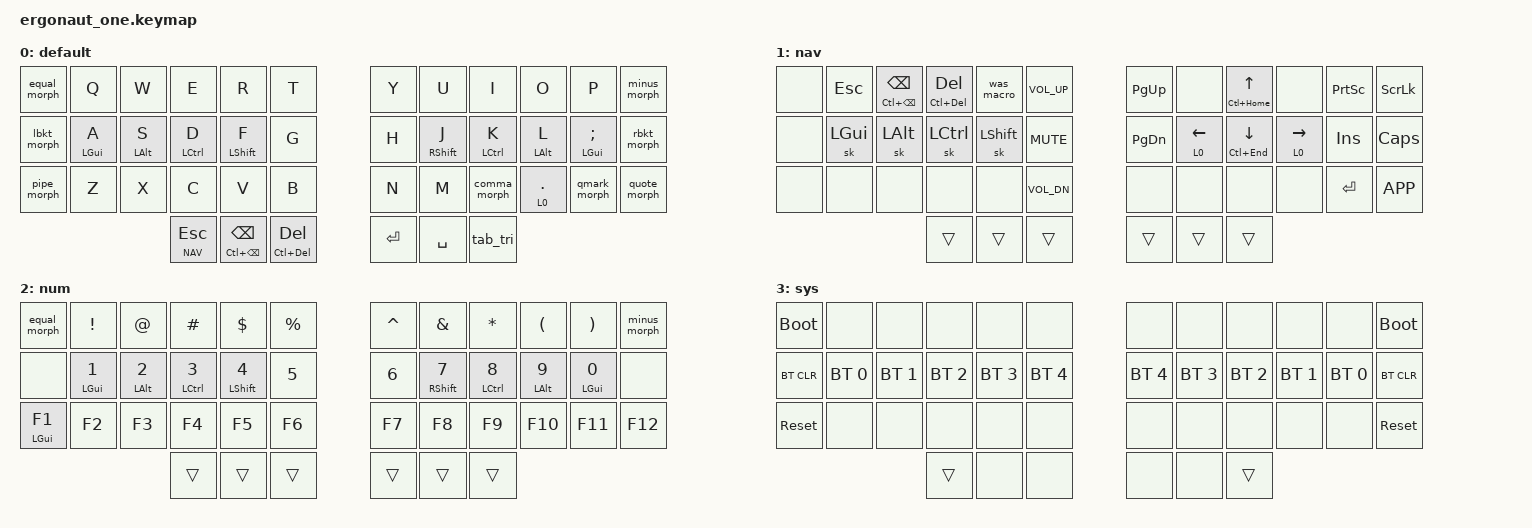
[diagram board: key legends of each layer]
#include <behaviors.dtsi>
#include <behaviors/num_word.dtsi>
#include <dt-bindings/zmk/keys.h>
#include <dt-bindings/zmk/bt.h>

#include "zmk-helpers/helper.h"
#include "zmk-helpers/key-labels/42.h"
#include "zmk-helpers/unicode-chars/german.dtsi"

#define DEF 0
#define NAV 1
#define NUM 2
#define SYS 3

#define XXX &none
#define ___ &trans

/* Global settings */

#define QUICK_TAP_MS 175

&sk {  // sticky-key config
    release-after-ms = <900>;  // release after 0.6s
    quick-release;             // no double capitalization when rolling keys
};

&sl {  // sticky-layer config
    ignore-modifiers;          // allow chording sticky mods & layers
};

&lt {  // layer-tap config
    flavor = "balanced";
    tapping-term-ms = <200>;
    quick-tap-ms = <QUICK_TAP_MS>;
};

/* Homerow mods */
#define KEYS_L LT0 LT1 LT2 LT3 LT4 LT5 LM0 LM1 LM2 LM3 LM4 LM5 LB0 LB1 LB2 LB3 LB4 LB5  // left hand
#define KEYS_R RT0 RT1 RT2 RT3 RT4 RT5 RM0 RM1 RM2 RM3 RM4 RM5 RB0 RB1 RB2 RB3 RB4 RB5  // right hand
#define THUMBS LH2 LH1 LH0 RH0 RH1 RH2                                                  // thumbs

#define MAKE_HRM(NAME, HOLD, TAP, TRIGGER_POS) \
    ZMK_HOLD_TAP(NAME, \
        flavor = "balanced"; \
        tapping-term-ms = <280>; \
        quick-tap-ms = <QUICK_TAP_MS>; \
        require-prior-idle-ms = <150>; \
        bindings = <HOLD>, <TAP>; \
        hold-trigger-key-positions = <TRIGGER_POS>; \
        hold-trigger-on-release; \
    )

MAKE_HRM(hml, &kp, &kp, KEYS_R THUMBS)  // left-hand HRMs
MAKE_HRM(hmr, &kp, &kp, KEYS_L THUMBS)  // right-hand HRMs

/* Nav cluster */

// long-tap action on hold, short-tap action on all interrupts
#define MT_CORE \
    flavor = "tap-preferred"; \
    tapping-term-ms = <220>; \
    quick-tap-ms = <220>; \
    hold-trigger-key-positions = <0>;

&mt { MT_CORE };
ZMK_HOLD_TAP(mt_home, bindings = <&masked_home>, <&kp>; MT_CORE)
ZMK_HOLD_TAP(mt_end, bindings = <&masked_end>, <&kp>; MT_CORE)

// mask CTRL when holding left/right to avoid accidental jumps to beginning/end of document
#define MASK_MODS(NAME, MODS, BINDING) \
    ZMK_MOD_MORPH(NAME, \
        bindings = <BINDING>, <BINDING>; \
        mods = <MODS>; \
    )
MASK_MODS(masked_home, (MOD_LCTL), &kp HOME)
MASK_MODS(masked_end,  (MOD_LCTL), &kp END)

/* Custom behaviors */

// reuse basic mod-morph scheme
#define SIMPLE_MORPH(NAME, MOD, BINDING1, BINDING2) \
    ZMK_MOD_MORPH(NAME, \
        mods = <(MOD_L ## MOD|MOD_R ## MOD)>; \
        bindings = <BINDING1>, <BINDING2>; \
    )

// tap: ? | shift + tap: / | ctrl + shift + tap: BACKSLASH
SIMPLE_MORPH(qmark_morph, SFT, &kp QMARK, &qmark_inner_morph)
SIMPLE_MORPH(qmark_inner_morph, CTL, &kp FSLH, &kp BSLH)

// tap: " | shift + tap: ' | ctrl + shift + tap: `
SIMPLE_MORPH(quote_morph, SFT, &kp DQT, &quote_inner_morph)
SIMPLE_MORPH(quote_inner_morph, CTL, &kp SQT, &kp GRAVE)

SIMPLE_MORPH(equal_morph, SFT, &kp EQUAL, &kp PLUS)         // tap: = | shift + tap: +
SIMPLE_MORPH(minus_morph, SFT, &kp MINUS, &kp UNDER)        // tap: - | shift + tap: _
SIMPLE_MORPH(lbkt_morph, SFT, &kp LBKT, &kp LBRC)           // tap: [ | shift + tap: {
SIMPLE_MORPH(rbkt_morph, SFT, &kp RBKT, &kp RBRC)           // tap: ] | shift + tap: }
SIMPLE_MORPH(pipe_morph, SFT, &kp PIPE, &kp TILDE)          // tap: | | shift + tap: ~
SIMPLE_MORPH(comma_morph, SFT, &kp COMMA, &kp LESS_THAN)    // tap: , | shift + tap: <
//SIMPLE_MORPH(dot_morph, SFT, &kp DOT, &kp GREATER_THAN)     // tap: . | shift + tap: >

// Press Win, Alt, and Ctrl at the same time with one keypress
ZMK_MACRO(was_macro,
    wait-ms = <100>;
    tap-ms = <40>;
    bindings = <&kp LGUI &kp LALT &kp LCTRL>;
)

// Press dot, space and sticky shift at the same time with one keypress
ZMK_MACRO(dot_spc,
    wait-ms = <0>;
    tap-ms = <5>;
    bindings = <&kp DOT &kp SPACE &sk LSHFT>;
)

ZMK_HOLD_TAP(mt_dot, bindings = <&dot_spc>, <&kp>; MT_CORE)

ZMK_TRI_STATE(tab_tri,
    bindings = <&kt LALT>, <&kp TAB>, <&mo NUM>;  // Tri-State: Tap/Hold/Long-Hold
    tapping-term-ms = <200>;       // Zeit bis zum Hold-Trigger
    hold-time-ms = <500>;          // Zeit bis zum Long-Hold (Layer)
    ignored-key-positions = <THUMBS>;  // Ignoriere eigene Position (z.B. Thumb-Keys)
    quick-release;                 // Verhindert "hängenbleibende" Modifier
)

#define NAV_LEFT    &mt_home 0   LEFT       // tap: left  | long-tap: beginning of line
#define NAV_RIGHT   &mt_end 0    RIGHT      // tap: right | long-tap: end       of line
#define NAV_UP      &mt LC(HOME) UP         // tap: up    | long-tap: beginning of document
#define NAV_DOWN    &mt LC(END)  DOWN       // tap: down  | long-tap: end       of document

#define BSPC_MORPH  &mt LC(BSPC) BSPC       // tap: bspc  | long-tap: delete word backward
#define DEL_MORPH   &mt LC(DEL)  DEL        // tap: del   | long-tap: delete word forward

#define DOT_MORPH   &mt_dot 0    DOT       // tap: . | long-tap: dot space sticky shift

/* Keymap */
ZMK_CONDITIONAL_LAYER(sys, NAV NUM, SYS)  // NAV + NUM --> SYS

/* Keymap Default Layer */
ZMK_LAYER(default,
//  ╭─────────────┬─────────────┬─────────────┬─────────────┬─────────────┬─────────────╮       ╭─────────────┬─────────────┬─────────────┬─────────────┬─────────────┬─────────────╮
     &equal_morph     &kp Q         &kp W         &kp E         &kp R         &kp T                 &kp Y         &kp U        &kp I          &kp O        &kp P       &minus_morph    
//  ├─────────────┼─────────────┼─────────────┼─────────────┼─────────────┤─────────────┤       ├─────────────┼─────────────┼─────────────┼─────────────┼─────────────┤─────────────┤
      &lbkt_morph  &hml LGUI A   &hml LALT S  &hml LCTRL D  &hml LSHFT F      &kp G                  &kp H     &hmr RSHFT J  &hmr LCTRL K   &hmr LALT L &hmr LGUI SEMI  &rbkt_morph
//  ├─────────────┼─────────────┼─────────────┼─────────────┼─────────────┤─────────────┤       ├─────────────┼─────────────┼─────────────┼─────────────┼─────────────┤─────────────┤
      &pipe_morph      &kp Z         &kp X          &kp C         &kp V         &kp B                &kp N         &kp M      &comma_morph   DOT_MORPH   &qmark_morph  &quote_morph
//  ╰─────────────┴─────────────┴─────────────┼─────────────┼─────────────┼─────────────├       ├─────────────┼─────────────┼─────────────┼─────────────┴─────────────┴─────────────╯
                                                &lt NAV ESC   BSPC_MORPH     DEL_MORPH             &kp ENTER     &kp SPACE    &tab_tri
//                                            ╰─────────────┴─────────────┴─────────────╯       ╰─────────────┴─────────────┴─────────────╯
)

/* Keymap Nav Layer */
ZMK_LAYER(nav,
//  ╭─────────────┬─────────────┬─────────────┬─────────────┬─────────────┬─────────────╮       ╭─────────────┬─────────────┬─────────────┬─────────────┬─────────────┬─────────────╮
          XXX         &kp ESC      BSPC_MORPH     DEL_MORPH   &was_macro    &kp C_VOL_UP           &kp PG_UP        XXX         NAV_UP          XXX        &kp PSCRN     &kp SLCK
//  ├─────────────┼─────────────┼─────────────┼─────────────┼─────────────┤─────────────┤       ├─────────────┼─────────────┼─────────────┼─────────────┼─────────────┤─────────────┤
          XXX         &sk LGUI      &sk LALT      &sk LCTRL     &sk LSHFT    &kp C_MUTE             &kp PG_DN     NAV_LEFT      NAV_DOWN      NAV_RIGHT     &kp INS      &kp CLCK 
//  ├─────────────┼─────────────┼─────────────┼─────────────┼─────────────┤─────────────┤       ├─────────────┼─────────────┼─────────────┼─────────────┼─────────────┤─────────────┤
          XXX           XXX           XXX           XXX           XXX      &kp C_VOL_DN               XXX           XXX           XXX           XXX         &kp RET      &kp K_APP
//  ╰─────────────┴─────────────┴─────────────┼─────────────┼─────────────┼─────────────├       ├─────────────┼─────────────┼─────────────┼─────────────┴─────────────┴─────────────╯
                                                    ___           ___           ___                   ___           ___          ___
//                                            ╰─────────────┴─────────────┴─────────────╯       ╰─────────────┴─────────────┴─────────────╯
)

/* Keymap Num Layer */
ZMK_LAYER(num,
//  ╭─────────────┬─────────────┬─────────────┬─────────────┬─────────────┬─────────────╮       ╭─────────────┬─────────────┬─────────────┬─────────────┬─────────────┬─────────────╮
      &equal_morph    &kp EXCL      &kp AT       &kp HASH      &kp DLLR      &kp PRCNT             &kp CARET      &kp AMPS      &kp STAR     &kp LPAR      &kp RPAR     &minus_morph
//  ├─────────────┼─────────────┼─────────────┼─────────────┼─────────────┤─────────────┤       ├─────────────┼─────────────┼─────────────┼─────────────┼─────────────┤─────────────┤
          XXX      &hml LGUI N1  &hml LALT N2  &hml LCTRL N3 &hml LSHFT N4    &kp N5                &kp N6     &hmr RSHFT N7 &hmr LCTRL N8  &hmr LALT N9  &hmr LGUI N0      XXX
//  ├─────────────┼─────────────┼─────────────┼─────────────┼─────────────┤─────────────┤       ├─────────────┼─────────────┼─────────────┼─────────────┼─────────────┤─────────────┤
      &mt LGUI F1      &kp F2         &kp F3       &kp F4        &kp F5        &kp F6                &kp F7        &kp F8       &kp F9        &kp F10       &kp F11       &kp F12           
//  ╰─────────────┴─────────────┴─────────────┼─────────────┼─────────────┼─────────────├       ├─────────────┼─────────────┼─────────────┼─────────────┴─────────────┴─────────────╯
                                                    ___           ___           ___                   ___           ___           ___
//                                            ╰─────────────┴─────────────┴─────────────╯       ╰─────────────┴─────────────┴─────────────╯
)

/* Keymap Sys Layer */
ZMK_LAYER(sys,
//  ╭─────────────┬─────────────┬─────────────┬─────────────┬─────────────┬─────────────╮       ╭─────────────┬─────────────┬─────────────┬─────────────┬─────────────┬─────────────╮
      &bootloader       XXX           XXX           XXX           XXX           XXX                   XXX           XXX           XXX           XXX           XXX       &bootloader 
//  ├─────────────┼─────────────┼─────────────┼─────────────┼─────────────┤─────────────┤       ├─────────────┼─────────────┼─────────────┼─────────────┼─────────────┤─────────────┤
      &bt BT_CLR    &bt BT_SEL 0  &bt BT_SEL 1  &bt BT_SEL 2  &bt BT_SEL 3  &bt BT_SEL 4          &bt BT_SEL 4  &bt BT_SEL 3  &bt BT_SEL 2  &bt BT_SEL 1  &bt BT_SEL 0  &bt BT_CLR
//  ├─────────────┼─────────────┼─────────────┼─────────────┼─────────────┤─────────────┤       ├─────────────┼─────────────┼─────────────┼─────────────┼─────────────┤─────────────┤
      &sys_reset        XXX           XXX           XXX           XXX           XXX                   XXX           XXX           XXX           XXX           XXX        &sys_reset 
//  ╰─────────────┴─────────────┴─────────────┼─────────────┼─────────────┼─────────────├       ├─────────────┼─────────────┼─────────────┼─────────────┴─────────────┴─────────────╯
                                                    ___           XXX           XXX                   XXX           XXX           ___     
//                                            ╰─────────────┴─────────────┴─────────────╯       ╰─────────────┴─────────────┴─────────────╯
)
